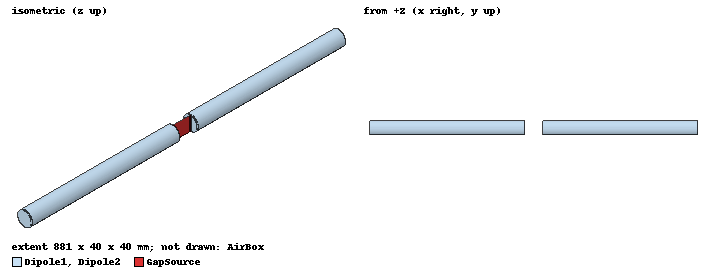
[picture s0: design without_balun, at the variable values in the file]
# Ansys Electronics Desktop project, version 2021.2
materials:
  vacuum: permittivity=1

design without_balun (HFSS, DrivenModal, model units mm)
options: Allow_Material_Override
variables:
  L = 0.41548333meter
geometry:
  Dipole1 [vacuum] = cylinder(axis=X, base_centre=(0.025meter, 0meter, 0meter), radius=0.02meter, height=L)
  Dipole2 [vacuum] = cylinder(axis=X, base_centre=(-0.025meter, 0meter, 0meter), radius=0.02meter, height=-L)
  GapSource = rectangle(corner=(-0.025meter, 0meter, -0.02meter), z_size=0.04meter, x_size=0.05meter)
  AirBox [vacuum] = box(corner=(-2meter, -0.5meter, -0.5meter), size=(4meter, 1meter, 1meter))
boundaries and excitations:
  Antennas: Perfect E Objects=[Dipole1, Dipole2]
  ABC: Radiation Objects=AirBox
  LumpedPort: Lumped Port Objects=GapSource Modes{Mode1{IntLine{middle of GapSource.edge(x at corner) -> middle of GapSource.edge(x opposite corner)} CharImp=Zpi}} Impedance=50ohm
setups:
  Setup150MHz: HfssDriven Frequency=0.15GHz MaxDeltaS=0.02 MaximumPasses=25 MinimumPasses=1 MinimumConvergedPasses=1 PercentRefinement=20 BasisOrder=1 PortAccuracy=2
    sweep Sweep100to200MHz: 0.1GHz to 0.2GHz, 201 points; Type=Interpolating InterpTolerance=0.5 InterpMaxSolns=101 InterpUsePortImped=false PassivityErrorTolerance=0.0001
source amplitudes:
  LumpedPort:1: 1W 0deg
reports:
  S11: dB(S(LumpedPort,LumpedPort)) vs Freq on Setup150MHz : Sweep100to200MHz
